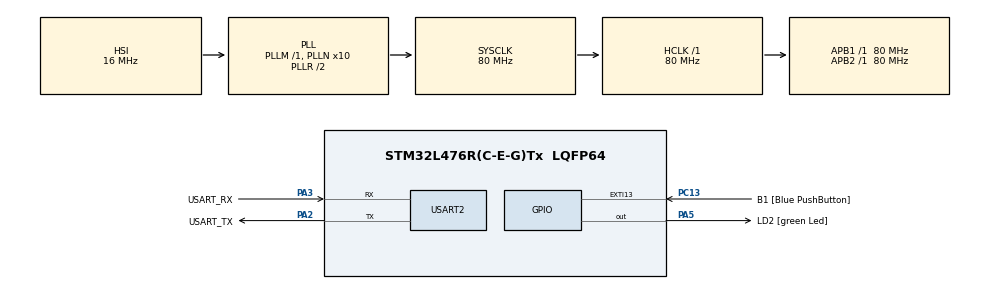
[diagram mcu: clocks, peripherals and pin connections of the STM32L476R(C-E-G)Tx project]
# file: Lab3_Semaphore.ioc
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FREERTOS.BinarySemaphores01=sharedStateSemaphore,Dynamic,NULL,Available
FREERTOS.Tasks01=defaultTask,24,128,StartDefaultTask,Default,NULL,Dynamic,NULL,NULL;buttonTask,8,128,StartTask02,Default,NULL,Dynamic,NULL,NULL;updateLEDTask,8,128,StartTask03,Default,NULL,Dynamic,NULL,NULL
FREERTOS.configUSE_NEWLIB_REENTRANT=1
Mcu.Family=STM32L4
Mcu.Name=STM32L476R(C-E-G)Tx
Mcu.Package=LQFP64
NVIC.PriorityGroup=NVIC_PRIORITYGROUP_4
PA13\ (JTMS-SWDIO).GPIO_Label=TMS
PA13\ (JTMS-SWDIO).Mode=Serial_Wire
PA13\ (JTMS-SWDIO).Signal=SYS_JTMS-SWDIO
PA14\ (JTCK-SWCLK).GPIO_Label=TCK
PA14\ (JTCK-SWCLK).Mode=Serial_Wire
PA14\ (JTCK-SWCLK).Signal=SYS_JTCK-SWCLK
PA2.GPIO_Label=USART_TX
PA2.GPIO_Mode=GPIO_MODE_AF_PP
PA2.GPIO_PuPd=GPIO_NOPULL
PA2.GPIO_Speed=GPIO_SPEED_FREQ_VERY_HIGH
PA2.Mode=Asynchronous
PA2.Signal=USART2_TX
PA3.GPIO_Label=USART_RX
PA3.GPIO_Mode=GPIO_MODE_AF_PP
PA3.GPIO_PuPd=GPIO_NOPULL
PA3.GPIO_Speed=GPIO_SPEED_FREQ_VERY_HIGH
PA3.Mode=Asynchronous
PA3.Signal=USART2_RX
PA5.GPIO_Label=LD2 [green Led]
PA5.GPIO_ModeDefaultOutputPP=GPIO_MODE_OUTPUT_PP
PA5.GPIO_PuPd=GPIO_NOPULL
PA5.GPIO_Speed=GPIO_SPEED_FREQ_LOW
PA5.Signal=GPIO_Output
PB3\ (JTDO-TRACESWO).GPIO_Label=SWO
PB3\ (JTDO-TRACESWO).Signal=SYS_JTDO-SWO
PC13.GPIO_Label=B1 [Blue PushButton]
PC13.GPIO_ModeDefaultEXTI=GPIO_MODE_IT_FALLING
PC13.GPIO_PuPd=GPIO_NOPULL
PC13.Signal=GPXTI13
PC14-OSC32_IN\ (PC14).Mode=LSE-External-Oscillator
PC14-OSC32_IN\ (PC14).Signal=RCC_OSC32_IN
PC15-OSC32_OUT\ (PC15).Mode=LSE-External-Oscillator
PC15-OSC32_OUT\ (PC15).Signal=RCC_OSC32_OUT
PH0-OSC_IN\ (PH0).Signal=RCC_OSC_IN
PH1-OSC_OUT\ (PH1).Signal=RCC_OSC_OUT
ProjectManager.HeapSize=0x200
ProjectManager.StackSize=0x400
ProjectManager.TargetToolchain=STM32CubeIDE
RCC.ADCFreq_Value=64000000
RCC.AHBFreq_Value=80000000
RCC.APB1Freq_Value=80000000
RCC.APB1TimFreq_Value=80000000
RCC.APB2Freq_Value=80000000
RCC.APB2TimFreq_Value=80000000
RCC.CortexFreq_Value=80000000
RCC.HCLKFreq_Value=80000000
RCC.HSE_VALUE=8000000
RCC.HSI_VALUE=16000000
RCC.MSI_VALUE=4000000
RCC.PLLN=10
RCC.PLLSourceVirtual=RCC_PLLSOURCE_HSI
RCC.PREFETCH_ENABLE=1
RCC.SYSCLKFreq_VALUE=80000000
RCC.SYSCLKSource=RCC_SYSCLKSOURCE_PLLCLK
RCC.USBFreq_Value=64000000
RCC.VCOOutputFreq_Value=160000000
USART2.VirtualMode-Asynchronous=VM_ASYNC
VP_FREERTOS_VS_CMSIS_V2.Mode=CMSIS_V2
board=NUCLEO-L476RG

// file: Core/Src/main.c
/* USER CODE BEGIN Header */
/**
  ******************************************************************************
  * @file           : main.c
  * @brief          : Main program body
  ******************************************************************************
  * @attention
  *
  * Copyright (c) 2026 STMicroelectronics.
  * All rights reserved.
  *
  * This software is licensed under terms that can be found in the LICENSE file
  * in the root directory of this software component.
  * If no LICENSE file comes with this software, it is provided AS-IS.
  *
  ******************************************************************************
  */
/* USER CODE END Header */
#include "main.h"
#include "cmsis_os.h"

UART_HandleTypeDef huart2;

/* Definitions for defaultTask */
osThreadId_t defaultTaskHandle;
const osThreadAttr_t defaultTask_attributes = {
  .name = "defaultTask",
  .stack_size = 128 * 4,
  .priority = (osPriority_t) osPriorityNormal,
};
/* Definitions for buttonTask */
osThreadId_t buttonTaskHandle;
const osThreadAttr_t buttonTask_attributes = {
  .name = "buttonTask",
  .stack_size = 128 * 4,
  .priority = (osPriority_t) osPriorityLow,
};
/* Definitions for updateLEDTask */
osThreadId_t updateLEDTaskHandle;
const osThreadAttr_t updateLEDTask_attributes = {
  .name = "updateLEDTask",
  .stack_size = 128 * 4,
  .priority = (osPriority_t) osPriorityLow,
};
/* Definitions for sharedStateSemaphore */
osSemaphoreId_t sharedStateSemaphoreHandle;
const osSemaphoreAttr_t sharedStateSemaphore_attributes = {
  .name = "sharedStateSemaphore"
};

void SystemClock_Config(void);
static void MX_GPIO_Init(void);
static void MX_USART2_UART_Init(void);
void StartDefaultTask(void *argument);
void StartTask02(void *argument);
void StartTask03(void *argument);

/* USER CODE BEGIN 0 */
uint8_t buttonState = 0; /* Is the button in the pressed state (1) or released (0) */
uint32_t  flashCount = 0; /* How many times has the LED flashed */
uint32_t runtimeMs = 0; /* System runtime in ms - will convert to s on uart print */

const char uartMsg[] = "Jeff Taylor - Lab 3\r\n CPET 461 - Resource Sharing (Semaphore)\r\n";
/* USER CODE END 0 */

int main(void)
{

  /* MCU Configuration--------------------------------------------------------*/

  /* Reset of all peripherals, Initializes the Flash interface and the Systick. */
  HAL_Init();

  /* Configure the system clock */
  SystemClock_Config();

  /* Initialize all configured peripherals */
  MX_GPIO_Init();
  MX_USART2_UART_Init();
  /* USER CODE BEGIN 2 */
	HAL_UART_Transmit(&huart2, (uint8_t*)uartMsg, sizeof(uartMsg) - 1, HAL_MAX_DELAY); // print UART message BEFORE rtos starts
  /* USER CODE END 2 */

  /* Init scheduler */
  osKernelInitialize();

  /* Create the semaphores(s) */
  /* creation of sharedStateSemaphore */
  sharedStateSemaphoreHandle = osSemaphoreNew(1, 1, &sharedStateSemaphore_attributes);

  /* Create the thread(s) */
  /* creation of defaultTask */
  defaultTaskHandle = osThreadNew(StartDefaultTask, NULL, &defaultTask_attributes);

  /* creation of buttonTask */
  buttonTaskHandle = osThreadNew(StartTask02, NULL, &buttonTask_attributes);

  /* creation of updateLEDTask */
  updateLEDTaskHandle = osThreadNew(StartTask03, NULL, &updateLEDTask_attributes);

  /* Start scheduler */
  osKernelStart();

  /* We should never get here as control is now taken by the scheduler */

  /* Infinite loop */
  while (1)
  {

  }
}

void SystemClock_Config(void)
{
  RCC_OscInitTypeDef RCC_OscInitStruct = {0};
  RCC_ClkInitTypeDef RCC_ClkInitStruct = {0};

  /** Configure the main internal regulator output voltage
  */
  if (HAL_PWREx_ControlVoltageScaling(PWR_REGULATOR_VOLTAGE_SCALE1) != HAL_OK)
  {
    Error_Handler();
  }

  /** Initializes the RCC Oscillators according to the specified parameters
  * in the RCC_OscInitTypeDef structure.
  */
  RCC_OscInitStruct.OscillatorType = RCC_OSCILLATORTYPE_HSI;
  RCC_OscInitStruct.HSIState = RCC_HSI_ON;
  RCC_OscInitStruct.HSICalibrationValue = RCC_HSICALIBRATION_DEFAULT;
  RCC_OscInitStruct.PLL.PLLState = RCC_PLL_ON;
  RCC_OscInitStruct.PLL.PLLSource = RCC_PLLSOURCE_HSI;
  RCC_OscInitStruct.PLL.PLLM = 1;
  RCC_OscInitStruct.PLL.PLLN = 10;
  RCC_OscInitStruct.PLL.PLLP = RCC_PLLP_DIV7;
  RCC_OscInitStruct.PLL.PLLQ = RCC_PLLQ_DIV2;
  RCC_OscInitStruct.PLL.PLLR = RCC_PLLR_DIV2;
  if (HAL_RCC_OscConfig(&RCC_OscInitStruct) != HAL_OK)
  {
    Error_Handler();
  }

  /** Initializes the CPU, AHB and APB buses clocks
  */
  RCC_ClkInitStruct.ClockType = RCC_CLOCKTYPE_HCLK|RCC_CLOCKTYPE_SYSCLK
                              |RCC_CLOCKTYPE_PCLK1|RCC_CLOCKTYPE_PCLK2;
  RCC_ClkInitStruct.SYSCLKSource = RCC_SYSCLKSOURCE_PLLCLK;
  RCC_ClkInitStruct.AHBCLKDivider = RCC_SYSCLK_DIV1;
  RCC_ClkInitStruct.APB1CLKDivider = RCC_HCLK_DIV1;
  RCC_ClkInitStruct.APB2CLKDivider = RCC_HCLK_DIV1;

  if (HAL_RCC_ClockConfig(&RCC_ClkInitStruct, FLASH_LATENCY_4) != HAL_OK)
  {
    Error_Handler();
  }
}

static void MX_USART2_UART_Init(void)
{

  huart2.Instance = USART2;
  huart2.Init.BaudRate = 115200;
  huart2.Init.WordLength = UART_WORDLENGTH_8B;
  huart2.Init.StopBits = UART_STOPBITS_1;
  huart2.Init.Parity = UART_PARITY_NONE;
  huart2.Init.Mode = UART_MODE_TX_RX;
  huart2.Init.HwFlowCtl = UART_HWCONTROL_NONE;
  huart2.Init.OverSampling = UART_OVERSAMPLING_16;
  huart2.Init.OneBitSampling = UART_ONE_BIT_SAMPLE_DISABLE;
  huart2.AdvancedInit.AdvFeatureInit = UART_ADVFEATURE_NO_INIT;
  if (HAL_UART_Init(&huart2) != HAL_OK)
  {
    Error_Handler();
  }

}

static void MX_GPIO_Init(void)
{
  GPIO_InitTypeDef GPIO_InitStruct = {0};

  /* GPIO Ports Clock Enable */
  __HAL_RCC_GPIOC_CLK_ENABLE();
  __HAL_RCC_GPIOH_CLK_ENABLE();
  __HAL_RCC_GPIOA_CLK_ENABLE();
  __HAL_RCC_GPIOB_CLK_ENABLE();

  /*Configure GPIO pin Output Level */
  HAL_GPIO_WritePin(LD2_GPIO_Port, LD2_Pin, GPIO_PIN_RESET);

  /*Configure GPIO pin : B1_Pin */
  GPIO_InitStruct.Pin = B1_Pin;
  GPIO_InitStruct.Mode = GPIO_MODE_IT_FALLING;
  GPIO_InitStruct.Pull = GPIO_NOPULL;
  HAL_GPIO_Init(B1_GPIO_Port, &GPIO_InitStruct);

  /*Configure GPIO pin : LD2_Pin */
  GPIO_InitStruct.Pin = LD2_Pin;
  GPIO_InitStruct.Mode = GPIO_MODE_OUTPUT_PP;
  GPIO_InitStruct.Pull = GPIO_NOPULL;
  GPIO_InitStruct.Speed = GPIO_SPEED_FREQ_LOW;
  HAL_GPIO_Init(LD2_GPIO_Port, &GPIO_InitStruct);

}

void StartDefaultTask(void *argument)
{
  /* USER CODE BEGIN 5 */

	/* USING THE DEFAULT TASK AS THE RUNTIME UPDATER */

  /* Infinite loop */
  for(;;)
  {
    uint32_t ticks = osKernelGetTickCount(); // Gets current OS tick, ticks is 1ms

    osSemaphoreAcquire(sharedStateSemaphoreHandle, osWaitForever);
    runtimeMs = ticks; // 1 tick is 1 ms - so straight conversion
    osSemaphoreRelease(sharedStateSemaphoreHandle);

    osDelay(10);
  }
  /* USER CODE END 5 */
}

void StartTask02(void *argument)
{
  /* USER CODE BEGIN StartTask02 */

	// BUTTON TASK

	uint8_t lastState = GPIO_PIN_SET; // assumes button is released
	uint32_t localRuntimeMs = 0; // local runtimeMs so I can grab items, and release semaphore
	uint32_t localFlashCount = 0; //local flashCount so I can grab items, and release semaphore

	char msg[100];

  /* Infinite loop */
  for(;;)
  {
    uint8_t currentState = HAL_GPIO_ReadPin(B1_GPIO_Port, B1_Pin); // reads pin B1

    osSemaphoreAcquire(sharedStateSemaphoreHandle, osWaitForever);
    buttonState = currentState;
    localRuntimeMs = runtimeMs;
    localFlashCount = flashCount;
    osSemaphoreRelease(sharedStateSemaphoreHandle);

    if(currentState == GPIO_PIN_RESET && lastState == GPIO_PIN_SET){
    	sprintf(msg, "Uptime: %lu s | Flashes %lu \r\n", localRuntimeMs/1000, localFlashCount);

    	HAL_UART_Transmit(&huart2, (uint8_t*)msg, strlen(msg), HAL_MAX_DELAY);
    }

    lastState = currentState;
    osDelay(10);
  }
  /* USER CODE END StartTask02 */
}

void StartTask03(void *argument)
{
  /* USER CODE BEGIN StartTask03 */

	uint8_t ledState = 0; // Start with LED off

  /* Infinite loop */
  for(;;)
  {
	uint32_t lastTick = osKernelGetTickCount();
	osDelayUntil(lastTick + 500);

	osSemaphoreAcquire(sharedStateSemaphoreHandle, osWaitForever); // USE HAL_MAX_DELAY, or osWaitForever
	uint8_t localButtonState = buttonState;
	osSemaphoreRelease(sharedStateSemaphoreHandle);

	if(localButtonState == GPIO_PIN_SET)
	{
		ledState = !ledState; //toggle
		HAL_GPIO_WritePin(LD2_GPIO_Port, LD2_Pin, ledState);

		if(ledState)
		{
			//if flash
			osSemaphoreAcquire(sharedStateSemaphoreHandle, osWaitForever);
			flashCount++;
			osSemaphoreRelease(sharedStateSemaphoreHandle);
		}
	}
	else
	{
		HAL_GPIO_WritePin(LD2_GPIO_Port, LD2_Pin, GPIO_PIN_RESET);
	}
  }
  /* USER CODE END StartTask03 */
}

void Error_Handler(void)
{
  __disable_irq();
  while (1)
  {
  }
}
